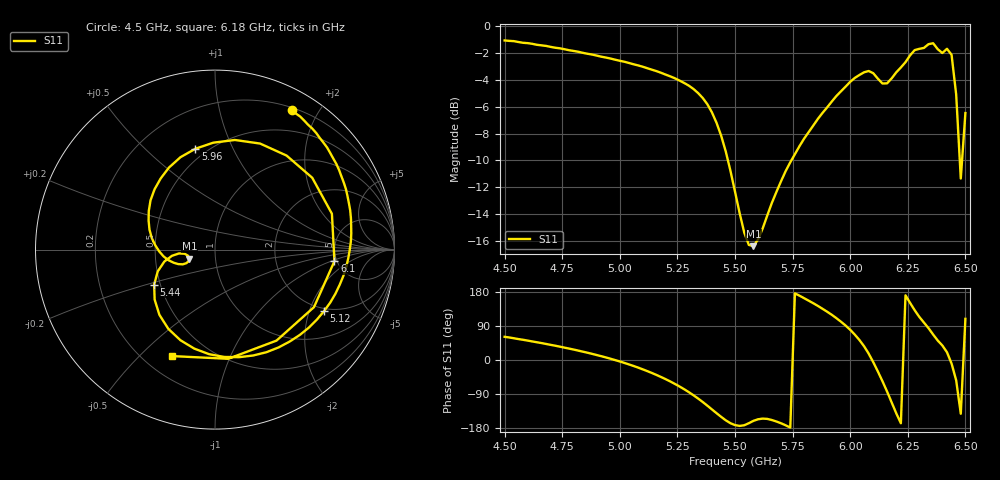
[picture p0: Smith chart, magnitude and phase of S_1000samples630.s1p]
! TOUCHSTONE file generated by CST MICROWAVE STUDIO
! Date and time: Fri Oct 28 20:10:36 2022
! Project name: L.cst
! Parameters = {Di=1.27; Epsilon_r=1.56; InnerDiameter=1.27; Length=2; Lf=10; Lg=60; OuterConductorThickness=0.2921; OuterDiameter=3.6; Wf=3; Wp=41.2; de=1.5; df=6.8; g=0.8; gx=1.05958; gy=0.96045; h=2.34; hf=1.524; px=8.55088; py=12.7752; w=9.7; wx=7.4913; wy=11.8148}
! Header version: 2018
! Port assignment regex: !\s*Touchstone port\s*([0-9]+)\s*=\s*(CST MWS port|CST DS port)\s*([0-9]+|Zmin|Zmax)\s*\(\"(.*)\"\)(\s*mode\s*([0-9]+))?.*
! Touchstone port assignment:
! Touchstone port 1 = CST MWS port 1 ("")
# GHz S DB R 50
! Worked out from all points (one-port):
!   101 points, 4.5 GHz to 6.5 GHz, reference 50 ohm
!   lowest |S11| = -16.4 dB at 5.58 GHz (marker M1), VSWR 1.36, Z = 37.3 - j3.85 ohm
!   |S11| at or under -10 dB: 5.469 GHz to 5.744 GHz (275 MHz wide, 4.91 % of centre); 6.475701 GHz to 6.485516 GHz (9.815 MHz wide, 0.151 % of centre)
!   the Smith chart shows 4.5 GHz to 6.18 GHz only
!   S11 on the Smith chart (normalised r, x): 4.5 GHz: 0.23, +1.67; 5.12 GHz: 1.88, -2.52; 5.44 GHz: 0.46, -0.21; 5.96 GHz: 0.43, +0.73; 6.1 GHz: 4.76, -1.11; 6.18 GHz: 0.31, -0.63
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4.5  -1.06 61.2
4.76  -1.71 32.6
5  -2.57 -3.9
5.12  -3.13 -29.5
5.26  -4.05 -70.2
5.34  -4.98 -101.8
5.44  -8.16 -150.1
5.5  -12.32 -171.8
5.58  -16.38 -160.6
5.68  -12.33 -162.4
5.76  -9.53 175.8
5.86  -6.89 142.6
5.96  -4.85 101.0
6  -4.14 79.7
6.06  -3.43 36.5
6.1  -3.50 -5.5
6.14  -4.26 -55.9
6.18  -3.88 -112.0
6.22  -3.07 -166.9
6.26  -2.17 150.6
6.3  -1.68 113.7
6.34  -1.33 84.0
6.36  -1.27 67.2
6.42  -1.68 20.5
6.44  -2.12 -9.4
6.46  -5.09 -53.7
6.48  -11.35 -141.8
6.5  -6.47 108.7
